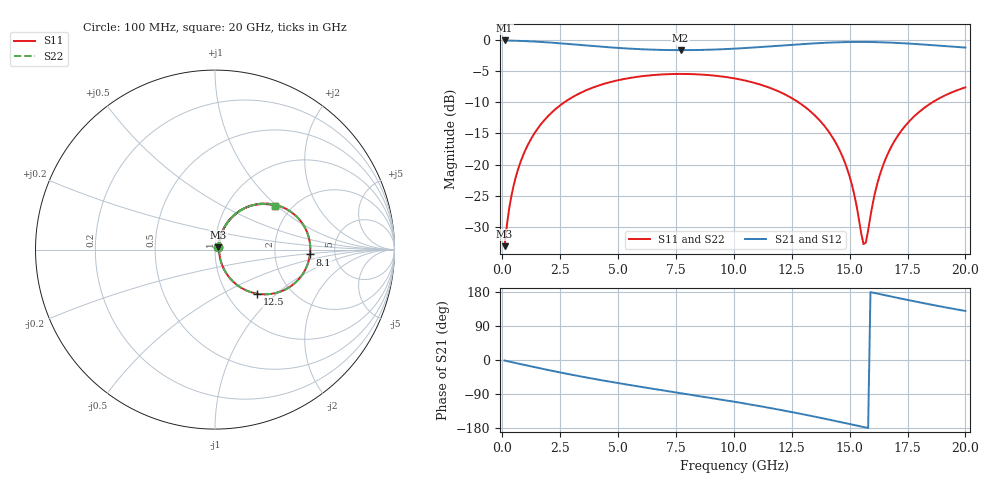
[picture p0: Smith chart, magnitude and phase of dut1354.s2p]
! Touchstone file exported from HFSS 2026.1.0
!  File:  C:/ffzhzh/LocalFiles/Ansys_Project_Files/temp_train_TSV_RDL_1354_1783341103_38704.aedt
!  Generated:  08:46:02 PM Jul  6, 2026
!  Design:  TSV_RDL
!  Project:  temp_train_TSV_RDL_1354_1783341103_38704
! Variables:
!  h_bsmrdl = 3.98um
!  h_ox = 20um
!  h_rdl = 5um
!  h_sub = 80.09um
!  h_tmrdl = 4.92um
!  h_tsv = 80.09um
!  h_via = 3um
!  l_bsmrdl = 830.12um
!  l_sub = 3795.59um
!  l_tmrdl = 192.43um
!  m_sub = 200um
!  pitch = 50.96um
!  r_tsv = 3.43um
!  s_tmrdl = 10um
!  w_bsmrdl = 26.63um
!  w_sub = 500um
!  w_tmrdl = 18.54um
!  x_tsv_center1 = 201.7um
!  x_tsv_center2 = 1058.45um
!  x_tsv_center3 = 1269.42um
!  x_tsv_center4 = 2126.17um
!  x_tsv_center5 = 2337.14um
!  x_tsv_center6 = 3193.89um
# GHz S MA R 50.000000
! Terminal data exported
! Port[1] = TM_RDL1_1_T1
! Port[2] = TM_RDL5_1_T1
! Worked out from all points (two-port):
!   200 points, 100 MHz to 20 GHz, reference 50 ohm
!   highest |S21| = -0.15 dB at 100 MHz (marker M1); lowest = -1.7 dB at 7.7 GHz (marker M2)
!   |S21| within 3 dB of the highest: start of sweep to end of sweep
!   lowest |S11| = -33.0 dB at 100 MHz (marker M3), VSWR 1.05, Z = 51.8 + j1.42 ohm
!   |S11| at or under -10 dB: start of sweep to 2.692 GHz; 12.78 GHz to 18.59 GHz (5.81 GHz wide, 37 % of centre)
!   |S22| runs from -33.0 to -5.5 dB; largest |S21 - S12| = 1.8e-14
!   S11 on the Smith chart (normalised r, x): 100 MHz: 1.04, +0.03; 8.1 GHz: 3.23, -0.24; 12.5 GHz: 1.37, -0.76; 20 GHz: 1.65, +0.97
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0.1  0.02235 38.0  0.9826 -1.4  0.9826 -1.4  0.02235 38.0
! Gamma 0 0 0 0
! Port Impedance 50 0 50 0
0.3  0.045 61.3  0.9805 -4.2  0.9805 -4.2  0.045 61.3
0.5  0.06945 66.8  0.9783 -6.9  0.9783 -6.9  0.06945 66.8
1.1  0.1434 66.9  0.9694 -14.9  0.9694 -14.9  0.1434 66.9
2.1  0.2576 57.3  0.9446 -27.9  0.9446 -27.9  0.2576 57.3
3.5  0.3839 41.9  0.8999 -44.7  0.8999 -44.7  0.3839 41.9
5  0.4729 26.3  0.8565 -60.9  0.8565 -60.9  0.4729 26.3
6.8  0.5246 9.1  0.8263 -78.8  0.8263 -78.8  0.5246 9.1
7.7  0.5309 0.8  0.8222 -87.4  0.8222 -87.4  0.5309 0.8
8.1  0.5297 -2.9  0.8228 -91.3  0.8228 -91.3  0.5297 -2.9
10.1  0.4862 -21.7  0.8465 -111.0  0.8465 -111.0  0.4862 -21.7
12.5  0.3406 -46.2  0.907 -137.4  0.907 -137.4  0.3406 -46.2
13.4  0.2574 -55.6  0.93 -148.3  0.93 -148.3  0.2574 -55.6
14.2  0.1722 -63.0  0.9459 -158.5  0.9459 -158.5  0.1721 -63.0
14.8  0.1036 -65.5  0.9534 -166.3  0.9534 -166.3  0.1036 -65.6
15.2  0.05783 -60.2  0.9558 -171.6  0.9558 -171.6  0.05778 -60.3
15.6  0.02322 -10.3  0.956 -176.9  0.956 -176.9  0.0231 -10.4
15.7  0.0239 18.2  0.9557 -178.2  0.9557 -178.2  0.02378 18.2
16.2  0.07117 65.2  0.9522 175.2  0.9522 175.2  0.07113 65.3
16.7  0.1279 67.2  0.9455 168.7  0.9455 168.7  0.1279 67.3
18  0.2638 56.6  0.9167 152.3  0.9167 152.3  0.2637 56.6
20  0.4145 36.2  0.8622 129.4  0.8622 129.4  0.4145 36.2
